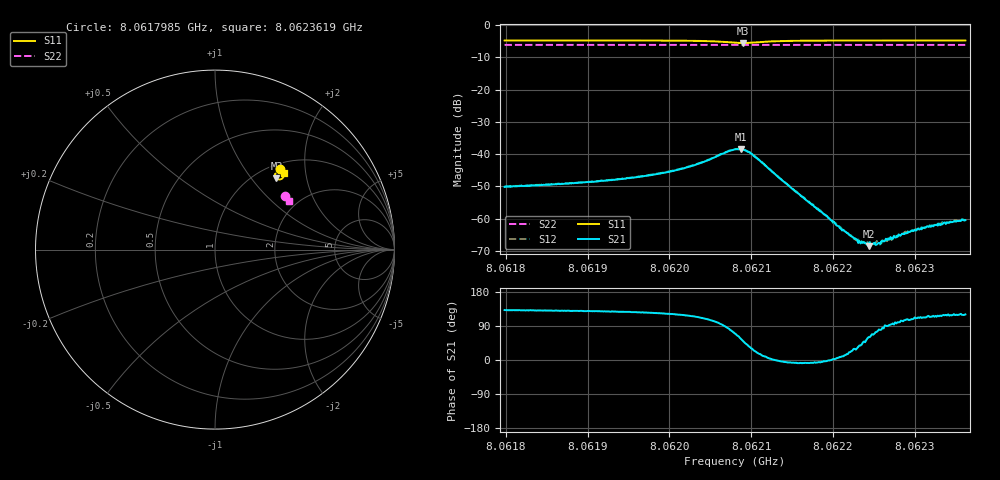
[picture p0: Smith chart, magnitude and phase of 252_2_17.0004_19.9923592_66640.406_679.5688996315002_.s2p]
#  HZ  S  RI  R  50.00
! Rohde & Schwarz Vector Network Analyzer
! Rohde-Schwarz,ZNB20-2Port,1311601062101988,3.16
! Created: UTC 3/20/2024, 11:03:19 PM
! freq[Hz]  re:S11  im:S11  re:S21  im:S21  re:S12  im:S12  re:S22  im:S22
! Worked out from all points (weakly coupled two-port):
!   401 points, 8.0617985 GHz to 8.0623619 GHz, reference 50 ohm
!   highest |S21| = -38.40 dB at 8.0620873 GHz (marker M1); lowest = -68.5 dB at 8.0622436 GHz (marker M2)
!   lowest |S11| = -5.6 dB at 8.0620901 GHz (marker M3), VSWR 3.21, Z = 61.3 + j67.3 ohm
!   |S11| at or under -10 dB: nowhere
!   |S22| runs from -6.2 to -6.2 dB; largest |S21 - S12| = 0.001
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8.06179849e9  0.364 0.4464  -0.00207 0.00232  -0.00189 0.0025  0.3914 0.298
8.06189287e9  0.3707 0.4402  -0.00231 0.00278  -0.00217 0.00298  0.3949 0.2931
8.06193794e9  0.3744 0.4365  -0.00247 0.00324  -0.00231 0.00341  0.3963 0.2909
8.06198724e9  0.3791 0.4303  -0.00274 0.00415  -0.00254 0.00437  0.3981 0.2884
8.06202809e9  0.3828 0.4205  -0.00284 0.00597  -0.00251 0.00619  0.3995 0.2858
8.06208021e9  0.3583 0.3908  0.00407 0.0112  0.00476 0.0109  0.3994 0.2826
8.06208725e9  0.3464 0.3943  0.00665 0.01  0.00733 0.00955  0.3993 0.2826
8.06209007e9  0.3421 0.3975  0.00755 0.00897  0.00809 0.00852  0.3993 0.2827
8.06209852e9  0.3351 0.4106  0.00875 0.00593  0.00916 0.00529  0.3994 0.2829
8.06210556e9  0.3355 0.4213  0.00823 0.00333  0.00857 0.00291  0.3998 0.2831
8.06213655e9  0.354 0.4388  0.00404 -0.000249  0.00406 -0.000521  0.4019 0.2821
8.06217458e9  0.3667 0.4384  0.00162 -0.00021  0.00167 -0.000309  0.4037 0.2802
8.06220839e9  0.3729 0.4362  0.000711 0.0001  0.000749 6.06e-05  0.4051 0.2784
8.0622267e9  0.3753 0.4349  0.000433 0.000245  0.000438 0.000204  0.4057 0.2774
8.06223374e9  0.3763 0.4345  0.000324 0.000257  0.000326 0.000261  0.406 0.2769
8.0622436e9  0.3773 0.4338  0.000186 0.000326  0.000222 0.000339  0.4063 0.2766
8.06225487e9  0.3784 0.433  9.42e-05 0.000403  9.57e-05 0.000416  0.4066 0.2758
8.06226896e9  0.3798 0.4321  -2.17e-05 0.000475  8.49e-06 0.000443  0.4071 0.2753
8.06229009e9  0.3818 0.4308  -0.000177 0.000569  -0.000161 0.000598  0.4077 0.2742
8.06231262e9  0.3835 0.4294  -0.000279 0.00068  -0.00026 0.000662  0.4085 0.273
8.06234784e9  0.3861 0.4273  -0.000465 0.000781  -0.000434 0.000816  0.4098 0.2711
8.06236192e9  0.3871 0.4265  -0.000478 0.00082  -0.000425 0.000849  0.4102 0.2704
